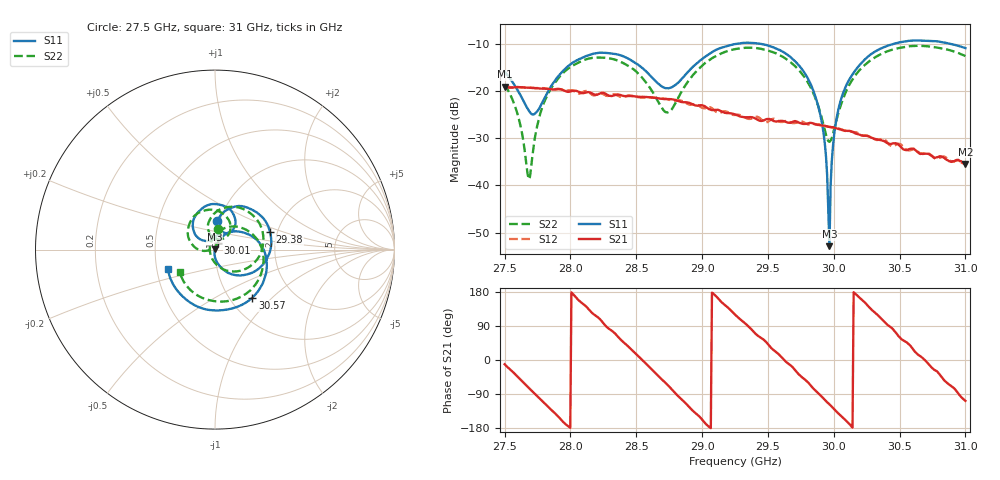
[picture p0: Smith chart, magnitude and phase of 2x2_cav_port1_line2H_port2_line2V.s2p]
!Created with skrf (http://scikit-rf.org).
# GHz S RI R 50.0
!freq ReS11 ImS11 ReS21 ImS21 ReS12 ImS12 ReS22 ImS22
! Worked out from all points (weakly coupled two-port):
!   401 points, 27.5 GHz to 31 GHz, reference 50 ohm
!   highest |S21| = -19.11 dB at 27.5 GHz (marker M1); lowest = -35.5 dB at 31 GHz (marker M2)
!   lowest |S11| = -52.8 dB at 29.97 GHz (marker M3), VSWR 1.00, Z = 50 + j0.226 ohm
!   |S11| at or under -10 dB: start of sweep to 29.26 GHz; 29.44 GHz to 30.46 GHz (1.02 GHz wide, 3.41 % of centre); 30.88164 GHz to end of sweep
!   |S22| runs from -38.7 to -10.4 dB; largest |S21 - S12| = 0.0052
!   S11 on the Smith chart (normalised r, x): 27.5 GHz: 0.97, +0.32; 29.38 GHz: 1.83, +0.39; 30.01 GHz: 1.03, +0.08; 30.57 GHz: 1.26, -0.77; 31 GHz: 0.57, -0.14
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27.5  0.0104 0.1603  0.1087 -0.0215  0.1105 -0.0202  0.0165 0.1164
27.605  0.0189 0.0966  0.0757 -0.0797  0.0754 -0.0794  0.0201 0.0487
27.68375  -0.00393 0.062  0.0306 -0.1036  0.0303 -0.1041  -0.00664 0.00957
27.815  -0.0728 0.053  -0.0499 -0.0933  -0.0514 -0.0928  -0.0846 -0.00278
28.08625  -0.1012 0.1995  -0.0828 0.0466  -0.0852 0.0443  -0.1371 0.1562
28.41875  0.098 0.205  0.0654 0.0593  0.0634 0.0607  0.0662 0.1797
28.6725  0.0728 0.0924  0.0601 -0.0578  0.0607 -0.0574  0.0434 0.0605
28.75125  0.041 0.0991  0.0271 -0.0776  0.0253 -0.0766  0.004 0.0601
28.9875  0.0449 0.2063  -0.0625 -0.0331  -0.0613 -0.0294  -0.0234 0.1768
29.25  0.2412 0.2003  -0.0281 0.0489  -0.029 0.0476  0.1661 0.222
29.38125  0.3071 0.0965  0.0106 0.0516  0.00798 0.051  0.2523 0.1365
29.6525  0.2 -0.1317  0.0456 -0.00729  0.0473 -0.00803  0.1874 -0.098
29.83625  0.0358 -0.1023  0.0144 -0.0434  0.0147 -0.0422  0.0253 -0.098
29.915  -0.000187 -0.0419  -0.00671 -0.0426  -0.00693 -0.0423  -0.0188 -0.0442
29.95  -0.00269 -0.0125  -0.0155 -0.0393  -0.0153 -0.0393  -0.0274 -0.0154
29.9675  -0.000295 0.00226  -0.019 -0.037  -0.0189 -0.037  -0.029 -0.000591
30.01125  0.015 0.0389  -0.0275 -0.0299  -0.0272 -0.0301  -0.0236 0.0364
30.1425  0.1098 0.1017  -0.0368 -0.00112  -0.0369 -0.00214  0.0552 0.1203
30.4225  0.2881 -0.1013  0.000353 0.0276  0.00185 0.0269  0.2671 -0.0174
30.57125  0.2077 -0.2682  0.0182 0.016  0.0181 0.0149  0.2311 -0.1858
30.78125  -0.0645 -0.3296  0.0173 -0.00973  0.0164 -0.00976  0.00587 -0.2881
31  -0.262 -0.1104  -0.00514 -0.0161  -0.00481 -0.0162  -0.1973 -0.126
